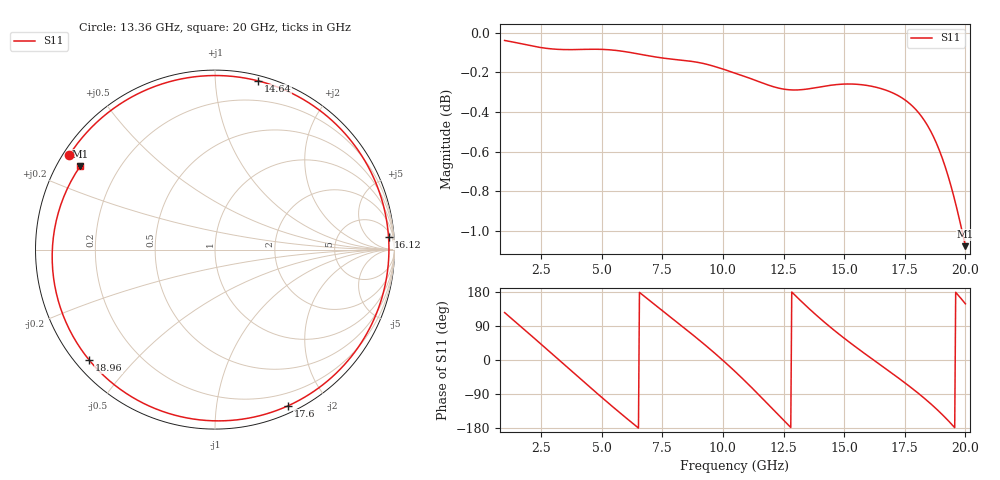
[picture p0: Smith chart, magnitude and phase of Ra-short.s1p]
! Touchstone file from project TestMultiLine
! Exported from HFSS 14.0.0
! Variables:
!  gap = 0mm
!  hair = 35mm
!  hsub = 0.762mm
!  l = 28mm
!  lair = 40mm
!  lmic = 14mm
!  w = 25mm
!  wair = 40mm
!  wmic = 2.1mm
!Data is not renormalized
# GHZ S MA
! Modal data exported
! Port[1] = 1:1
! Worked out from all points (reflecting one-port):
!   476 points, 1 GHz to 20 GHz, reference per port
!   lowest |S11| = -1.1 dB at 20 GHz (marker M1), VSWR 16.14
!   phase of S11 starts at 125 deg and turns -1057 deg over the sweep
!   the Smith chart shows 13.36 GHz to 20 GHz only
!   S11 on the Smith chart (normalised r, x): 13.36 GHz: 0.02, +0.29; 14.64 GHz: 0.04, +1.28; 16.12 GHz: 9, +23; 17.6 GHz: 0.07, -1.57; 18.96 GHz: 0.04, -0.38; 20 GHz: 0.07, +0.28
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1  0.9956 125.2
2.08  0.9925 65.4
2.76  0.9909 27.4
3.4  0.9903 -8.7
3.96  0.9903 -40.3
4.64  0.9905 -78.4
5.76  0.9895 -139.6
6.88  0.9869 161.9
8.16  0.9844 97.1
8.8  0.9833 64.3
9.52  0.9812 25.9
10.52  0.9767 -31.4
11.12  0.9739 -68.5
11.64  0.9712 -102.2
12.32  0.9683 -147.0
12.88  0.9673 176.9
13.36  0.9676 147.2
14  0.969 110.0
14.64  0.9703 75.8
15.28  0.9707 43.9
16.12  0.9694 4.3
16.84  0.9666 -28.9
17.6  0.9608 -64.8
17.64  0.9604 -66.8
18.32  0.9501 -101.7
18.96  0.9328 -138.6
19.48  0.9113 -172.9
20  0.8833 148.3
